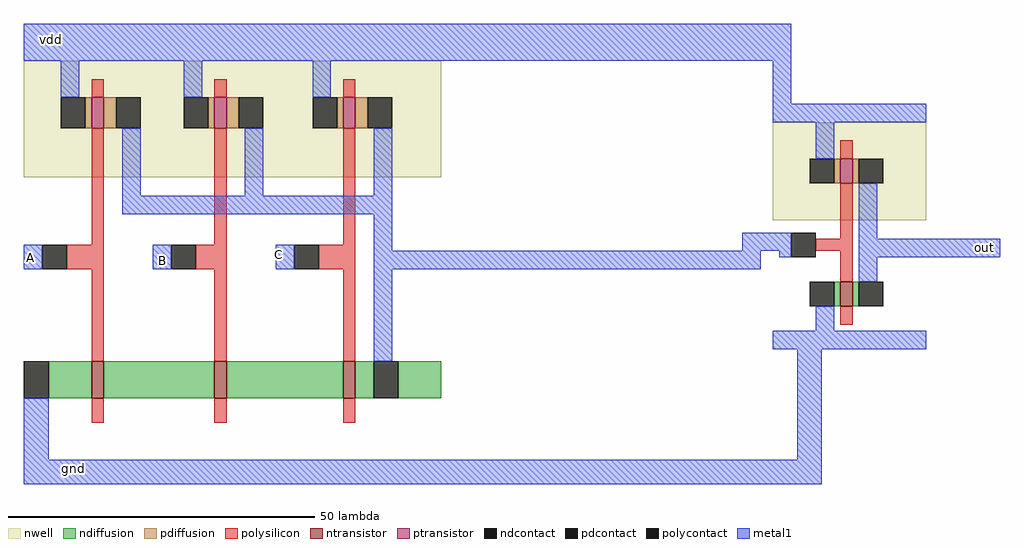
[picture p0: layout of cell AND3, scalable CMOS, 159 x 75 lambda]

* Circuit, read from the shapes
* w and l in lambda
.subckt AND3 A B C gnd out vdd
M1 n1 A gnd VSUBS nfet w=6 l=2
M2 n2 B n1 VSUBS nfet w=6 l=2
M3 not_0/in C n2 VSUBS nfet w=6 l=2
M4 out not_0/in gnd VSUBS nfet w=4 l=2
M5 not_0/in A vdd n3 pfet w=5 l=2
M6 not_0/in B vdd n3 pfet w=5 l=2
M7 not_0/in C vdd n3 pfet w=5 l=2
M8 out not_0/in vdd n4 pfet w=4 l=2
.ends

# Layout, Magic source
magic
tech scmos
<< nwell >>
rect -31 -3 37 16
<< ntransistor >>
rect -20 -39 -18 -33
rect 0 -39 2 -33
rect 21 -39 23 -33
<< ptransistor >>
rect -20 5 -18 10
rect 0 5 2 10
rect 21 5 23 10
<< ndiffusion >>
rect -27 -39 -20 -33
rect -18 -39 0 -33
rect 2 -39 21 -33
rect 23 -39 26 -33
rect 30 -39 37 -33
<< pdiffusion >>
rect -21 5 -20 10
rect -18 5 -16 10
rect -1 5 0 10
rect 2 5 4 10
rect 20 5 21 10
rect 23 5 25 10
<< ndcontact >>
rect -31 -39 -27 -33
rect 26 -39 30 -33
<< pdcontact >>
rect -25 5 -21 10
rect -16 5 -12 10
rect -5 5 -1 10
rect 4 5 8 10
rect 16 5 20 10
rect 25 5 29 10
<< polysilicon >>
rect -20 10 -18 13
rect 0 10 2 13
rect 21 10 23 13
rect -20 -14 -18 5
rect 0 -14 2 5
rect 21 -14 23 5
rect -24 -18 -18 -14
rect -3 -18 2 -14
rect 17 -18 23 -14
rect -20 -33 -18 -18
rect 0 -33 2 -18
rect 21 -33 23 -18
rect -20 -43 -18 -39
rect 0 -43 2 -39
rect 21 -43 23 -39
<< polycontact >>
rect -28 -18 -24 -14
rect -7 -18 -3 -14
rect 13 -18 17 -14
<< metal1 >>
rect -31 16 94 22
rect -25 10 -22 16
rect -5 10 -2 16
rect 16 10 19 16
rect 91 6 94 16
rect -15 -6 -12 5
rect 5 -6 8 5
rect 26 -6 29 5
rect -15 -9 29 -6
rect -31 -18 -28 -14
rect -10 -18 -7 -14
rect 10 -18 13 -14
rect 26 -15 29 -9
rect 86 -15 92 -12
rect 26 -18 89 -15
rect 113 -16 128 -13
rect 26 -33 29 -18
rect -31 -49 -27 -39
rect 95 -49 99 -31
rect -31 -53 99 -49
use not  not_0
transform 1 0 100 0 1 -11
box -9 -20 16 20
<< labels >>
rlabel metal1 -29 18 -24 21 4 vdd
rlabel metal1 -31 -17 -29 -15 3 A
rlabel metal1 -9 -17 -8 -16 1 B
rlabel metal1 10 -16 11 -15 1 C
rlabel metal1 -25 -51 -21 -50 1 gnd
rlabel metal1 125 -15 126 -14 7 out
<< end >>

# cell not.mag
magic
tech scmos
<< nwell >>
rect -9 1 16 17
<< ntransistor >>
rect 2 -13 4 -9
<< ptransistor >>
rect 2 7 4 11
<< ndiffusion >>
rect 1 -13 2 -9
rect 4 -13 5 -9
<< pdiffusion >>
rect 1 7 2 11
rect 4 7 5 11
<< ndcontact >>
rect -3 -13 1 -9
rect 5 -13 9 -9
<< pdcontact >>
rect -3 7 1 11
rect 5 7 9 11
<< polysilicon >>
rect 2 11 4 14
rect 2 -2 4 7
rect -2 -4 4 -2
rect 2 -9 4 -4
rect 2 -16 4 -13
<< polycontact >>
rect -6 -5 -2 -1
<< metal1 >>
rect -9 17 16 20
rect -2 11 1 17
rect -8 -5 -6 -1
rect 5 -2 8 7
rect 5 -5 16 -2
rect 5 -9 8 -5
rect -2 -17 1 -13
rect -9 -20 16 -17
<< labels >>
rlabel metal1 -5 18 -3 19 4 VDD
rlabel metal1 -8 -4 -7 -2 3 in
rlabel metal1 13 -4 15 -3 7 out
rlabel metal1 -2 -19 0 -18 1 gnd
<< end >>
